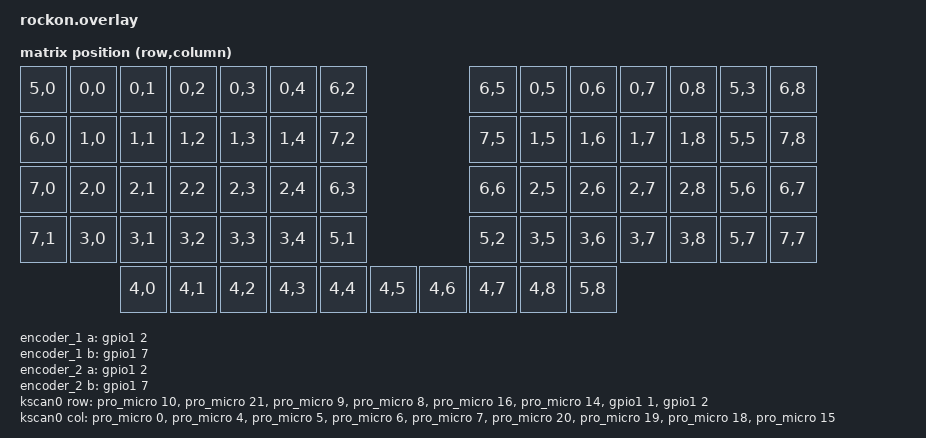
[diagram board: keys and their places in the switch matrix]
/*
 * Copyright (c) 2021 The ZMK Contributors
 *
 * SPDX-License-Identifier: MIT
 */

#include <dt-bindings/zmk/matrix_transform.h>

/ {
    chosen {
        zmk,kscan = &kscan0;
        zmk,matrix_transform = &default_transform;
    };

    // Left encoder
    encoder_1: encoder_1 {
        compatible = "alps,ec11";
        label = "Encoder 1";
        // Note to self: Left one is ENC2A from schematic
        a-gpios = <&gpio1 2 (GPIO_ACTIVE_LOW | GPIO_PULL_UP)>;
        b-gpios = <&gpio1 7 (GPIO_ACTIVE_LOW | GPIO_PULL_UP)>;
        resolution = <4>;
        status = "okay";
    };

    // Right encoder
    encoder_2: encoder_2 {
        compatible = "alps,ec11";
        label = "Encoder 2";
        // Note to self: Right one is ENC1A from schematic
        a-gpios = <&gpio1 2 (GPIO_ACTIVE_LOW | GPIO_PULL_UP)>;
        b-gpios = <&gpio1 7 (GPIO_ACTIVE_LOW | GPIO_PULL_UP)>;
        resolution = <4>;
        status = "okay";
    };


    kscan0: kscan_0 {
        compatible = "zmk,kscan-gpio-matrix";
        label = "KSCAN";
        diode-direction = "col2row";

        col-gpios
            = <&pro_micro 0 GPIO_ACTIVE_HIGH>  // col 0
            , <&pro_micro 4 GPIO_ACTIVE_HIGH>  // col 1
            , <&pro_micro 5 GPIO_ACTIVE_HIGH>  // col 2
            , <&pro_micro 6 GPIO_ACTIVE_HIGH>  // col 3
            , <&pro_micro 7 GPIO_ACTIVE_HIGH>  // col 4
            , <&pro_micro 20 GPIO_ACTIVE_HIGH> // col 5
            , <&pro_micro 19 GPIO_ACTIVE_HIGH> // col 6
            , <&pro_micro 18 GPIO_ACTIVE_HIGH> // col 7
            , <&pro_micro 15 GPIO_ACTIVE_HIGH> // col 8
            ;

        row-gpios
            = <&pro_micro 10 (GPIO_ACTIVE_HIGH | GPIO_PULL_DOWN)> // row 0
            , <&pro_micro 21 (GPIO_ACTIVE_HIGH | GPIO_PULL_DOWN)> // row 1
            , <&pro_micro 9 (GPIO_ACTIVE_HIGH | GPIO_PULL_DOWN)>  // row 2
            , <&pro_micro 8 (GPIO_ACTIVE_HIGH | GPIO_PULL_DOWN)>  // row 3
            , <&pro_micro 16 (GPIO_ACTIVE_HIGH | GPIO_PULL_DOWN)> // row 4
            , <&pro_micro 14 (GPIO_ACTIVE_HIGH | GPIO_PULL_DOWN)> // row 5
            , <&gpio1 1 (GPIO_ACTIVE_HIGH | GPIO_PULL_DOWN)>      // row 6
            , <&gpio1 2 (GPIO_ACTIVE_HIGH | GPIO_PULL_DOWN)>      // row 7
            ;
    };

    default_transform: keymap_transform_0 {
        compatible = "zmk,matrix-transform";
        columns = <9>;
        rows = <8>;

        // encoders presses are the center two in the bottom row
        map = <
             RC(5,0) RC(0,0) RC(0,1) RC(0,2) RC(0,3) RC(0,4) RC(6,2)                 RC(6,5) RC(0,5) RC(0,6) RC(0,7) RC(0,8) RC(5,3) RC(6,8)
             RC(6,0) RC(1,0) RC(1,1) RC(1,2) RC(1,3) RC(1,4) RC(7,2)                 RC(7,5) RC(1,5) RC(1,6) RC(1,7) RC(1,8) RC(5,5) RC(7,8)
             RC(7,0) RC(2,0) RC(2,1) RC(2,2) RC(2,3) RC(2,4) RC(6,3)                 RC(6,6) RC(2,5) RC(2,6) RC(2,7) RC(2,8) RC(5,6) RC(6,7)
             RC(7,1) RC(3,0) RC(3,1) RC(3,2) RC(3,3) RC(3,4) RC(5,1)                 RC(5,2) RC(3,5) RC(3,6) RC(3,7) RC(3,8) RC(5,7) RC(7,7)
                             RC(4,0) RC(4,1) RC(4,2) RC(4,3) RC(4,4) RC(4,5) RC(4,6) RC(4,7) RC(4,8) RC(5,8)
        >;
    };
};


// From Pete: https://discord.com/channels/719497620560543766/845285481888743434/1206181117296644106
&pro_micro_i2c {
    status = "okay";
    glidepoint: glidepoint@2a {
        compatible = "cirque,pinnacle";
        reg = <0x2a>;
        status = "okay";
        dr-gpios = <&gpio0 6 (GPIO_ACTIVE_HIGH)>;

        sensitivity = "4x";
        sleep;
        no-taps;
    };

    // Rotation config, from Pete
    // This will change in the future
    // https://discord.com/channels/719497620560543766/845285481888743434/1206407883777114182
    input_config {
        compatible = "zmk,input-configs";
    
        cirque_config {
            device = <&glidepoint>;
            xy-swap;
            y-invert;
            x-invert;
        };
    };
};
